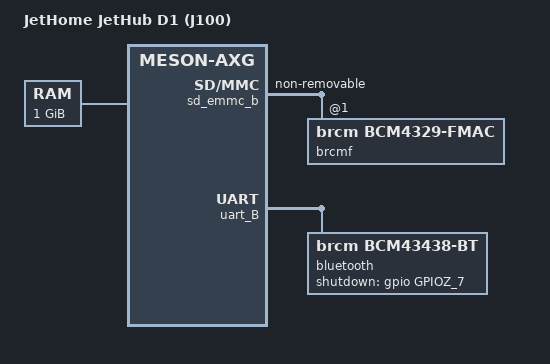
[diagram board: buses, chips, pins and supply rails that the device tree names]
// SPDX-License-Identifier: (GPL-2.0+ OR MIT)
/*
 * Copyright (c) 2022 Vyacheslav Bocharov <adeep@lexina.in>
 * Copyright (c) 2022 JetHome
 * Author: Vyacheslav Bocharov <adeep@lexina.in>
 */

/dts-v1/;

#include "meson-axg-jethome-jethub-j1xx.dtsi"

/ {
	compatible = "jethome,jethub-j100", "amlogic,a113d", "amlogic,meson-axg";
	model = "JetHome JetHub D1 (J100)";

	/* 1024MB RAM */
	memory@0 {
		device_type = "memory";
		reg = <0x0 0x0 0x0 0x40000000>;
	};
};


/* wifi module */
&sd_emmc_b {
	non-removable;

	brcmf: wifi@1 {
		reg = <1>;
		compatible = "brcm,bcm4329-fmac";
	};
};

/* UART Bluetooth */
&uart_B {
	bluetooth {
		compatible = "brcm,bcm43438-bt";
		shutdown-gpios = <&gpio GPIOZ_7 GPIO_ACTIVE_HIGH>;
	};
};
